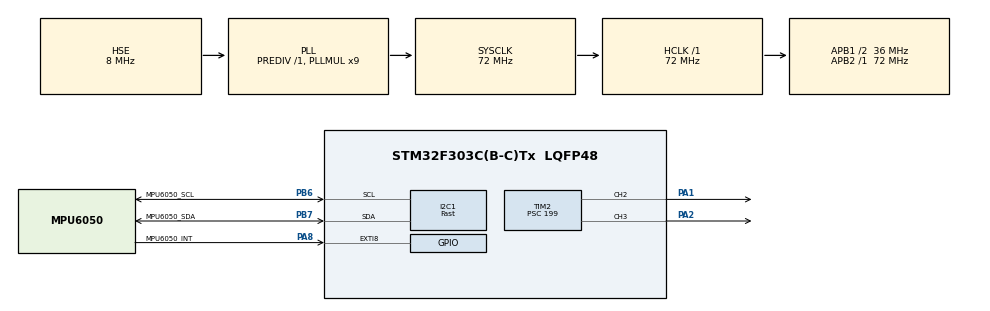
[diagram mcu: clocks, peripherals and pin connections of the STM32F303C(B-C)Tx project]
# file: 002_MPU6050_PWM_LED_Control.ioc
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FREERTOS.Tasks01=defaultTask,24,128,StartDefaultTask,Default,NULL,Dynamic,NULL,NULL;SensorReadTask_,32,128,sensor_read_task,Default,NULL,Dynamic,NULL,NULL;PWMControlTask_,40,128,pwm_control_task,Default,NULL,Dynamic,NULL,NULL
FREERTOS.configUSE_NEWLIB_REENTRANT=1
I2C1.Analog_Filter=I2C_ANALOGFILTER_DISABLE
I2C1.I2C_Fall_Time=25
I2C1.I2C_Rise_Time=25
I2C1.I2C_Speed_Mode=I2C_Fast
I2C1.Timing=0x0000020C
Mcu.Family=STM32F3
Mcu.Name=STM32F303C(B-C)Tx
Mcu.Package=LQFP48
NVIC.EXTI9_5_IRQn=true\:5\:0\:true\:false\:true\:true\:true\:true\:true
NVIC.PriorityGroup=NVIC_PRIORITYGROUP_4
NVIC.TIM2_IRQn=true\:5\:0\:false\:false\:true\:true\:true\:true\:true
NVIC.TIM6_DAC_IRQn=true\:15\:0\:false\:false\:true\:false\:false\:true\:true
NVIC.TimeBase=TIM6_DAC_IRQn
NVIC.TimeBaseIP=TIM6
PA1.Signal=S_TIM2_CH2
PA2.Signal=S_TIM2_CH3
PA8.GPIO_Label=MPU6050_INT
PA8.Signal=GPXTI8
PB6.GPIO_Label=MPU6050_SCL
PB6.Mode=I2C
PB6.Signal=I2C1_SCL
PB7.GPIO_Label=MPU6050_SDA
PB7.Mode=I2C
PB7.Signal=I2C1_SDA
PF0-OSC_IN.Mode=HSE-External-Oscillator
PF0-OSC_IN.Signal=RCC_OSC_IN
PF1-OSC_OUT.Mode=HSE-External-Oscillator
PF1-OSC_OUT.Signal=RCC_OSC_OUT
ProjectManager.HeapSize=0x200
ProjectManager.StackSize=0x400
ProjectManager.TargetToolchain=STM32CubeIDE
RCC.AHBFreq_Value=72000000
RCC.APB1CLKDivider=RCC_HCLK_DIV2
RCC.APB1Freq_Value=36000000
RCC.APB1TimFreq_Value=72000000
RCC.APB2Freq_Value=72000000
RCC.APB2TimFreq_Value=72000000
RCC.CortexFreq_Value=72000000
RCC.HCLKFreq_Value=72000000
RCC.HSE_VALUE=8000000
RCC.HSI_VALUE=8000000
RCC.LSE_VALUE=32768
RCC.PLLMUL=RCC_PLL_MUL9
RCC.PLLSourceVirtual=RCC_PLLSOURCE_HSE
RCC.SYSCLKFreq_VALUE=72000000
RCC.SYSCLKSourceVirtual=RCC_SYSCLKSOURCE_PLLCLK
RCC.USBFreq_Value=72000000
SH.S_TIM2_CH2.0=TIM2_CH2,PWM Generation2 CH2
SH.S_TIM2_CH3.0=TIM2_CH3,PWM Generation3 CH3
TIM2.Channel-PWM\ Generation2\ CH2=TIM_CHANNEL_2
TIM2.Channel-PWM\ Generation3\ CH3=TIM_CHANNEL_3
TIM2.Period=39
TIM2.Prescaler=199
TIM2.Pulse-PWM\ Generation2\ CH2=0
TIM2.Pulse-PWM\ Generation3\ CH3=0
TIM2.TIM_MasterOutputTrigger=TIM_TRGO_UPDATE
VP_FREERTOS_VS_CMSIS_V2.Mode=CMSIS_V2
VP_SYS_VS_tim6.Mode=TIM6
VP_TIM2_VS_ClockSourceINT.Mode=Internal
board=custom

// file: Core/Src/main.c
/* USER CODE BEGIN Header */
/**
  ******************************************************************************
  * @file           : main.c
  * @brief          : Main program body
  ******************************************************************************
  * @attention
  *
  * Copyright (c) 2024 STMicroelectronics.
  * All rights reserved.
  *
  * This software is licensed under terms that can be found in the LICENSE file
  * in the root directory of this software component.
  * If no LICENSE file comes with this software, it is provided AS-IS.
  *
  ******************************************************************************
  */
/* USER CODE END Header */
#include "main.h"
#include "cmsis_os.h"

/* USER CODE BEGIN Includes */
#include "mpu6050.h"
#include <math.h>
#include <limits.h>
#include "kalman_filter.h"
#include "task.h"
#include "debug.h"
/* USER CODE END Includes */

I2C_HandleTypeDef hi2c1;

TIM_HandleTypeDef htim2;

/* Definitions for defaultTask */
osThreadId_t defaultTaskHandle;
const osThreadAttr_t defaultTask_attributes = {
  .name = "defaultTask",
  .stack_size = 128 * 4,
  .priority = (osPriority_t) osPriorityNormal,
};
/* Definitions for SensorReadTask_ */
osThreadId_t SensorReadTask_Handle;
const osThreadAttr_t SensorReadTask__attributes = {
  .name = "SensorReadTask_",
  .stack_size = 128 * 4,
  .priority = (osPriority_t) osPriorityAboveNormal,
};
/* Definitions for PWMControlTask_ */
osThreadId_t PWMControlTask_Handle;
const osThreadAttr_t PWMControlTask__attributes = {
  .name = "PWMControlTask_",
  .stack_size = 128 * 4,
  .priority = (osPriority_t) osPriorityHigh,
};
/* USER CODE BEGIN PV */

uint32_t g_counter = 0;
volatile uint32_t g_channel_2_state = 8000;
volatile uint32_t g_channel_3_state = 4000;

const mpu6050_accel_data_t error_offset =  {
		.x = 250,
		.y = -200,
		.z = 156
};

/* USER CODE END PV */

void SystemClock_Config(void);
static void MX_GPIO_Init(void);
static void MX_I2C1_Init(void);
static void MX_TIM2_Init(void);
void StartDefaultTask(void *argument);
void sensor_read_task(void *argument);
void pwm_control_task(void *argument);

/* USER CODE BEGIN 0 */

#define PWM_PULSE_MIN 0
#define PWM_PULSE_MAX  40

#define ANGLE_POS_MIN 0
#define ANGLE_POS_MAX 90

// Map function: re-maps a number from one range to another
long map(long x, long in_min, long in_max, long out_min, long out_max) {
    // Perform  mapping
    long result = (x - in_min) * (out_max - out_min) / (in_max - in_min) + out_min;

    // Clamp the result to the output range
    if (result > out_max) {
        result = out_max;
    } else if (result < out_min) {
        result = out_min;
    }

    return result;
}

void change_pwm_duty_cycle(uint32_t pwm_pulse, uint8_t timer_channel) {
	__HAL_TIM_SET_COMPARE(&htim2, timer_channel, pwm_pulse);
}

/* USER CODE END 0 */

int main(void)
{

  /* MCU Configuration--------------------------------------------------------*/

  /* Reset of all peripherals, Initializes the Flash interface and the Systick. */
  HAL_Init();

  /* Configure the system clock */
  SystemClock_Config();

  /* Initialize all configured peripherals */
  MX_GPIO_Init();
  MX_I2C1_Init();
  MX_TIM2_Init();
  /* USER CODE BEGIN 2 */

  //enables DWT unit
  CoreDebug->DEMCR |= CoreDebug_DEMCR_TRCENA_Msk;

  //enables cycle counter
  DWT->CTRL |= DWT_CTRL_CYCCNTENA_Msk;

  if (mpu6050_init(&hi2c1, MPU6050_I2C_ADDR) != MPU6050_OK) {
	  Error_Handler();
  }

	mpu6050_disable_interrupt(&hi2c1, ALL_INT);
	mpu6050_interrupt_config(&hi2c1, INT_LEVEL_ACTIVE_HIGH);
	mpu6050_enable_interrupt(&hi2c1, RAW_RDY_INT);

  if (mpu6050_configure_low_pass_filter(&hi2c1,DLPF_CFG_21HZ) != MPU6050_OK) {
	  Error_Handler();
  }

  __HAL_TIM_ENABLE_IT(&htim2, TIM_IT_UPDATE);

  if (HAL_TIM_PWM_Start_IT(&htim2, TIM_CHANNEL_2) != HAL_OK) {
	  Error_Handler();
  }

  if (HAL_TIM_PWM_Start_IT(&htim2, TIM_CHANNEL_3) != HAL_OK) {
	  Error_Handler();
  }

  /* USER CODE END 2 */

  /* Init scheduler */
  osKernelInitialize();

  /* Create the thread(s) */
  /* creation of defaultTask */
  defaultTaskHandle = osThreadNew(StartDefaultTask, NULL, &defaultTask_attributes);

  /* creation of SensorReadTask_ */
  SensorReadTask_Handle = osThreadNew(sensor_read_task, NULL, &SensorReadTask__attributes);

  /* creation of PWMControlTask_ */
  PWMControlTask_Handle = osThreadNew(pwm_control_task, NULL, &PWMControlTask__attributes);

  /* Start scheduler */
  osKernelStart();

  /* We should never get here as control is now taken by the scheduler */

  /* Infinite loop */
  while (1)
  {

    /* USER CODE BEGIN 3 */

#ifdef PWM_DEBUG
	  g_counter = __HAL_TIM_GET_COUNTER(&htim2);
#endif

	 // HAL_Delay(500);
  }
  /* USER CODE END 3 */
}

void SystemClock_Config(void)
{
  RCC_OscInitTypeDef RCC_OscInitStruct = {0};
  RCC_ClkInitTypeDef RCC_ClkInitStruct = {0};
  RCC_PeriphCLKInitTypeDef PeriphClkInit = {0};

  /** Initializes the RCC Oscillators according to the specified parameters
  * in the RCC_OscInitTypeDef structure.
  */
  RCC_OscInitStruct.OscillatorType = RCC_OSCILLATORTYPE_HSI|RCC_OSCILLATORTYPE_HSE;
  RCC_OscInitStruct.HSEState = RCC_HSE_ON;
  RCC_OscInitStruct.HSEPredivValue = RCC_HSE_PREDIV_DIV1;
  RCC_OscInitStruct.HSIState = RCC_HSI_ON;
  RCC_OscInitStruct.HSICalibrationValue = RCC_HSICALIBRATION_DEFAULT;
  RCC_OscInitStruct.PLL.PLLState = RCC_PLL_ON;
  RCC_OscInitStruct.PLL.PLLSource = RCC_PLLSOURCE_HSE;
  RCC_OscInitStruct.PLL.PLLMUL = RCC_PLL_MUL9;
  if (HAL_RCC_OscConfig(&RCC_OscInitStruct) != HAL_OK)
  {
    Error_Handler();
  }

  /** Initializes the CPU, AHB and APB buses clocks
  */
  RCC_ClkInitStruct.ClockType = RCC_CLOCKTYPE_HCLK|RCC_CLOCKTYPE_SYSCLK
                              |RCC_CLOCKTYPE_PCLK1|RCC_CLOCKTYPE_PCLK2;
  RCC_ClkInitStruct.SYSCLKSource = RCC_SYSCLKSOURCE_PLLCLK;
  RCC_ClkInitStruct.AHBCLKDivider = RCC_SYSCLK_DIV1;
  RCC_ClkInitStruct.APB1CLKDivider = RCC_HCLK_DIV2;
  RCC_ClkInitStruct.APB2CLKDivider = RCC_HCLK_DIV1;

  if (HAL_RCC_ClockConfig(&RCC_ClkInitStruct, FLASH_LATENCY_2) != HAL_OK)
  {
    Error_Handler();
  }
  PeriphClkInit.PeriphClockSelection = RCC_PERIPHCLK_I2C1;
  PeriphClkInit.I2c1ClockSelection = RCC_I2C1CLKSOURCE_HSI;
  if (HAL_RCCEx_PeriphCLKConfig(&PeriphClkInit) != HAL_OK)
  {
    Error_Handler();
  }
}

static void MX_I2C1_Init(void)
{

  hi2c1.Instance = I2C1;
  hi2c1.Init.Timing = 0x0000020C;
  hi2c1.Init.OwnAddress1 = 0;
  hi2c1.Init.AddressingMode = I2C_ADDRESSINGMODE_7BIT;
  hi2c1.Init.DualAddressMode = I2C_DUALADDRESS_DISABLE;
  hi2c1.Init.OwnAddress2 = 0;
  hi2c1.Init.OwnAddress2Masks = I2C_OA2_NOMASK;
  hi2c1.Init.GeneralCallMode = I2C_GENERALCALL_DISABLE;
  hi2c1.Init.NoStretchMode = I2C_NOSTRETCH_DISABLE;
  if (HAL_I2C_Init(&hi2c1) != HAL_OK)
  {
    Error_Handler();
  }

  /** Configure Analogue filter
  */
  if (HAL_I2CEx_ConfigAnalogFilter(&hi2c1, I2C_ANALOGFILTER_DISABLE) != HAL_OK)
  {
    Error_Handler();
  }

  /** Configure Digital filter
  */
  if (HAL_I2CEx_ConfigDigitalFilter(&hi2c1, 0) != HAL_OK)
  {
    Error_Handler();
  }

}

static void MX_TIM2_Init(void)
{

  TIM_ClockConfigTypeDef sClockSourceConfig = {0};
  TIM_MasterConfigTypeDef sMasterConfig = {0};
  TIM_OC_InitTypeDef sConfigOC = {0};

  htim2.Instance = TIM2;
  htim2.Init.Prescaler = 199;
  htim2.Init.CounterMode = TIM_COUNTERMODE_UP;
  htim2.Init.Period = 39;
  htim2.Init.ClockDivision = TIM_CLOCKDIVISION_DIV1;
  htim2.Init.AutoReloadPreload = TIM_AUTORELOAD_PRELOAD_DISABLE;
  if (HAL_TIM_Base_Init(&htim2) != HAL_OK)
  {
    Error_Handler();
  }
  sClockSourceConfig.ClockSource = TIM_CLOCKSOURCE_INTERNAL;
  if (HAL_TIM_ConfigClockSource(&htim2, &sClockSourceConfig) != HAL_OK)
  {
    Error_Handler();
  }
  if (HAL_TIM_PWM_Init(&htim2) != HAL_OK)
  {
    Error_Handler();
  }
  sMasterConfig.MasterOutputTrigger = TIM_TRGO_UPDATE;
  sMasterConfig.MasterSlaveMode = TIM_MASTERSLAVEMODE_DISABLE;
  if (HAL_TIMEx_MasterConfigSynchronization(&htim2, &sMasterConfig) != HAL_OK)
  {
    Error_Handler();
  }
  sConfigOC.OCMode = TIM_OCMODE_PWM1;
  sConfigOC.Pulse = 0;
  sConfigOC.OCPolarity = TIM_OCPOLARITY_HIGH;
  sConfigOC.OCFastMode = TIM_OCFAST_DISABLE;
  if (HAL_TIM_PWM_ConfigChannel(&htim2, &sConfigOC, TIM_CHANNEL_2) != HAL_OK)
  {
    Error_Handler();
  }
  if (HAL_TIM_PWM_ConfigChannel(&htim2, &sConfigOC, TIM_CHANNEL_3) != HAL_OK)
  {
    Error_Handler();
  }
  HAL_TIM_MspPostInit(&htim2);

}

static void MX_GPIO_Init(void)
{
  GPIO_InitTypeDef GPIO_InitStruct = {0};

  /* GPIO Ports Clock Enable */
  __HAL_RCC_GPIOF_CLK_ENABLE();
  __HAL_RCC_GPIOA_CLK_ENABLE();
  __HAL_RCC_GPIOB_CLK_ENABLE();

  /*Configure GPIO pin : MPU6050_INT_Pin */
  GPIO_InitStruct.Pin = MPU6050_INT_Pin;
  GPIO_InitStruct.Mode = GPIO_MODE_IT_RISING;
  GPIO_InitStruct.Pull = GPIO_NOPULL;
  HAL_GPIO_Init(MPU6050_INT_GPIO_Port, &GPIO_InitStruct);

  /* EXTI interrupt init*/
  HAL_NVIC_SetPriority(EXTI9_5_IRQn, 5, 0);
  HAL_NVIC_EnableIRQ(EXTI9_5_IRQn);

}

void StartDefaultTask(void *argument)
{
  for(;;)
  {
    osDelay(1);
  }
}

void sensor_read_task(void *argument)
{
  /* USER CODE BEGIN sensor_read_task */

	mpu6050_accel_data_t accel_data;

	uint32_t accel_data_y_z = 0;

  /* Infinite loop */
  for(;;)
  {
	//sensor read
	if (mpu6050_read_accelerometer_data(&hi2c1, MPU6050_I2C_ADDR, &accel_data) != MPU6050_OK) {
		  Error_Handler();
	  }

	accel_data = mpu6050_accelerometer_calibration(&error_offset, &accel_data);

	accel_data_y_z = accel_data.y;
	accel_data_y_z = (accel_data_y_z << 16) | accel_data.z;

	//send notification to the pwm control task
	xTaskNotify((TaskHandle_t )PWMControlTask_Handle, accel_data_y_z, eSetValueWithOverwrite);

	//enter blocked state until a direct notification is received from the ISR
	xTaskNotifyWait(0, 0, NULL, portMAX_DELAY);
  }
  /* USER CODE END sensor_read_task */
}

void pwm_control_task(void *argument)
{
  /* USER CODE BEGIN pwm_control_task */

#ifdef RTOS_TICK
	uint32_t previous_tick = osKernelGetTickCount();
#else
	uint32_t previous_tick = DWT->CYCCNT;
#endif

	float roll_angle;
	double dt = 0;
	int16_t roll_angle_filtered;
	mpu6050_accel_data_t accel_data;
	uint32_t accel_data_y_z;

	KalmanFilter kf;
	kalman_filter_init(&kf);

  /* Infinite loop */
  for(;;)
  {
	  //wakes up on notification and extractthe accel data
	 //enter blocked state until a direct notification is received from the sensor read task
	  xTaskNotifyWait(0, ULONG_MAX, &accel_data_y_z, portMAX_DELAY);

	  accel_data.z = (int16_t)(accel_data_y_z & 0xFFFF);
	  accel_data.y = (int16_t)((accel_data_y_z >> 16) & 0xFFFF);

#ifdef RTOS_TICK
	  uint32_t current_tick = osKernelGetTickCount();
	  dt = (current_tick - previous_tick) / 1000.0f;
	  previous_tick = current_tick;
#else
	  uint32_t current_tick  = DWT->CYCCNT;
	  //converting dt to seconds
	  dt = (current_tick - previous_tick) / (SystemCoreClock * 1.0f);
	  previous_tick = current_tick;
#endif

	  roll_angle = atan2(accel_data.y, accel_data.z) * (180.0 / M_PI);
	  DEBUG_ROLL_ANGLE(roll_angle);
	  DEBUG_DT(dt * 1000); //seconds to milliseconds

	  roll_angle_filtered = (int16_t)kalman_filter_get_angle(&kf, roll_angle, dt);
	  DEBUG_ROLL_ANGLE_FILT(roll_angle_filtered);

	  uint8_t channel = (roll_angle_filtered < 0) ? TIM_CHANNEL_2 : TIM_CHANNEL_3;

	  roll_angle_filtered = (roll_angle_filtered < 0) ? -roll_angle_filtered : roll_angle_filtered;

	  uint32_t pwm_pulse = map(roll_angle_filtered, ANGLE_POS_MIN, ANGLE_POS_MAX, \
			  PWM_PULSE_MIN, PWM_PULSE_MAX);

	  change_pwm_duty_cycle(pwm_pulse, channel);

  }
  /* USER CODE END pwm_control_task */
}

void HAL_TIM_PeriodElapsedCallback(TIM_HandleTypeDef *htim)
{
  if (htim->Instance == TIM6) {
    HAL_IncTick();
  }
  /* USER CODE BEGIN Callback 1 */

  g_counter = 0;
  g_channel_2_state = 80;
  g_channel_3_state = 40;

  /* USER CODE END Callback 1 */
}

void Error_Handler(void)
{
  __disable_irq();
  while (1)
  {
  }
}
